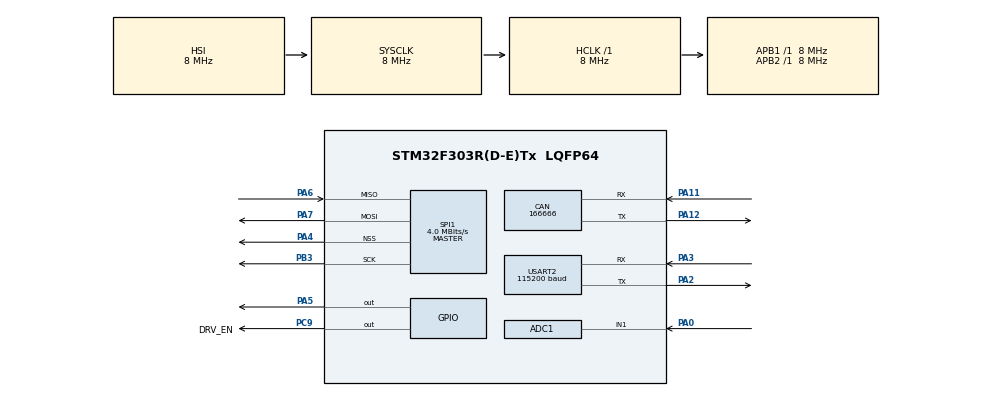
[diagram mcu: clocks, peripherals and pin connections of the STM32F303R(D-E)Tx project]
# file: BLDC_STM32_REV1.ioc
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ADC1.Channel-0\#ChannelRegularConversion=ADC_CHANNEL_1
ADC1.NbrOfConversionFlag=1
ADC1.Offset-0\#ChannelRegularConversion=0
ADC1.OffsetNumber-0\#ChannelRegularConversion=ADC_OFFSET_NONE
ADC1.Rank-0\#ChannelRegularConversion=1
ADC1.SamplingTime-0\#ChannelRegularConversion=ADC_SAMPLETIME_1CYCLE_5
ADC1.SamplingTimeOPAMP-0\#ChannelRegularConversion=ADC_SAMPLETIME_7CYCLES_5
ADC1.master=1
CAN.CalculateBaudRate=166666
CAN.CalculateTimeBit=6000
CAN.CalculateTimeQuantum=2000.0
Mcu.Family=STM32F3
Mcu.Name=STM32F303R(D-E)Tx
Mcu.Package=LQFP64
NVIC.PriorityGroup=NVIC_PRIORITYGROUP_4
PA0.Mode=IN1-Single-Ended
PA0.Signal=ADC1_IN1
PA11.Mode=CAN_Activate
PA11.Signal=CAN_RX
PA12.Mode=CAN_Activate
PA12.Signal=CAN_TX
PA2.Mode=Asynchronous
PA2.Signal=USART2_TX
PA3.Mode=Asynchronous
PA3.Signal=USART2_RX
PA4.Mode=NSS_Signal_Hard_Output
PA4.Signal=SPI1_NSS
PA5.Signal=GPIO_Output
PA6.Mode=Full_Duplex_Master
PA6.Signal=SPI1_MISO
PA7.Mode=Full_Duplex_Master
PA7.Signal=SPI1_MOSI
PB3.Mode=Full_Duplex_Master
PB3.Signal=SPI1_SCK
PC9.GPIO_Label=DRV_EN
PC9.Signal=GPIO_Output
ProjectManager.HeapSize=0x200
ProjectManager.StackSize=0x400
ProjectManager.TargetToolchain=STM32CubeIDE
RCC.AHBFreq_Value=8000000
RCC.APB1Freq_Value=8000000
RCC.APB2Freq_Value=8000000
RCC.CortexFreq_Value=8000000
RCC.HSE_VALUE=8000000
RCC.HSI_VALUE=8000000
RCC.LSE_VALUE=32768
RCC.SYSCLKFreq_VALUE=8000000
RCC.USBFreq_Value=16000000
SPI1.BaudRatePrescaler=SPI_BAUDRATEPRESCALER_2
SPI1.CLKPhase=SPI_PHASE_1EDGE
SPI1.CLKPolarity=SPI_POLARITY_LOW
SPI1.CalculateBaudRate=4.0 MBits/s
SPI1.DataSize=SPI_DATASIZE_8BIT
SPI1.Direction=SPI_DIRECTION_2LINES
SPI1.Mode=SPI_MODE_MASTER
SPI1.VirtualNSS=VM_NSSHARD
SPI1.VirtualType=VM_MASTER
TIM1.Period=499
TIM1.Prescaler=7199
USART2.BaudRate=115200
USART2.VirtualMode-Asynchronous=VM_ASYNC
VP_TIM1_VS_ClockSourceINT.Mode=Internal
board=custom

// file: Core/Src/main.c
/* USER CODE BEGIN Header */
/**
  ******************************************************************************
  * @file           : main.c
  * @brief          : Main program body
  ******************************************************************************
  * @attention
  *
  * Copyright (c) 2025 STMicroelectronics.
  * All rights reserved.
  *
  * This software is licensed under terms that can be found in the LICENSE file
  * in the root directory of this software component.
  * If no LICENSE file comes with this software, it is provided AS-IS.
  *
  ******************************************************************************
  */
/* USER CODE END Header */
#include "main.h"

/* USER CODE BEGIN Includes */
#include "BLDC_SPI.h"
#include "BLDC_Drive.h"

/* USER CODE END Includes */

ADC_HandleTypeDef hadc1;

CAN_HandleTypeDef hcan;

SPI_HandleTypeDef hspi1;

TIM_HandleTypeDef htim1;

UART_HandleTypeDef huart2;

/* USER CODE BEGIN PV */
// Side delay
int16_t counter = 0;
int16_t delay = 10;
int16_t period = 3;

//LED
uint8_t Can_LED = 0;
uint8_t Debug_LED = 0;
uint8_t Error_LED = 0;

int32_t millidegreeTarget = 0;

//Uart variables
char txData[TX_DATA_SIZE];

//drive varaible
int16_t nextPWM = 0;
extern uint8_t invalidate;
uint8_t ignoreLimSw = 0;
uint8_t encoderTimeOut = 0;
uint8_t hallSensorsTimeOut = 0;

// Motor Unit Variables
uint8_t bound_set1;
uint8_t bound_set2;
int32_t enc_lim_1;
int32_t enc_lim_2;

//Status and Data Structs
volatile uint8_t drive = 0;
uint8_t CAN_check_delay = 0;
CANPacket can_recieve;
CANPacket can_send;

uint8_t address = 0;

/* USER CODE END PV */

void SystemClock_Config(void);
static void MX_GPIO_Init(void);
static void MX_TIM1_Init(void);
static void MX_USART2_UART_Init(void);
static void MX_CAN_Init(void);
static void MX_ADC1_Init(void);
static void MX_SPI1_Init(void);

/* USER CODE BEGIN 0 */
//void Initialize(void) {
//    HAL_UART_Transmit(&huart2, (uint8_t*)"Initializing...\r\n", 17, 10);
//    HAL_CAN_Start(&hcan);
//    HAL_TIM_Base_Start_IT(&htim1);
//}
//
//uint16_t ReadCAN(CANPacket *receivedPacket) {
//    CAN_RxHeaderTypeDef rxHeader;
//    uint8_t rxData[8];
//    if (HAL_CAN_GetRxMessage(&hcan, CAN_RX_FIFO0, &rxHeader, rxData) == HAL_OK) {
//        memcpy(receivedPacket->data, rxData, rxHeader.DLC);
//        receivedPacket->dlc = rxHeader.DLC;
//        receivedPacket->id = rxHeader.StdId;
//        Can_LED = 0;
//        return receivedPacket->data[0];
//    }
//    return 0xFF;
//}
//
//
//void PrintCanPacket(CANPacket receivedPacket) {
//    for (int i = 0; i < receivedPacket.dlc; i++) {
//        sprintf(txData, "Byte%d %x   ", i + 1, receivedPacket.data[i]);
//        HAL_UART_Transmit(&huart2, (uint8_t *)txData, strlen(txData), 10);
//    }
//    sprintf(txData, "ID:%x %x %x\r\n", receivedPacket.id >> 10,
//        (receivedPacket.id >> 6) & 0xF, receivedPacket.id & 0x3F);
//    HAL_UART_Transmit(&huart2, (uint8_t *)txData, strlen(txData), 10);
//}

//void select_spi_read (uint8_t reg, uint8_t *Buffer, size_t len)
//  {
//  	reg |= 0x80;
//  	Reg |= 0x40;
//  	HAL_GPIO_WritePin (GPIOA, SPI1_NSS_Pin, GPIO_PIN_RESET);
//  	HAL_SPI_Transmit (&hspi1, &reg, 1, 100);
//  	HAL_SPI_Receive (&hspi1, Buffer, len, 100);
//  	HAL_GPIO_WritePin (GPIOA, SPI1_NSS_Pin, GPIO_PIN_SET);
//  }
//
//void select_spi_write (uint8_t Reg, uint8_t data)
//{
//	  uint8_t writeBuf[2];
//	  writeBuf[0] = Reg|0x80;
//	  writeBuf[1] = data;
//
//	  HAL_GPIO_WritePin(GPIOA, SPI1_NSS_Pin, GPIO_PIN_RESET);
//	  HAL_SPI_Transmit (&hspi1, writeBuf, 2, 100);
//	  HAL_GPIO_WritePin (GPIOA, SPI1_NSS_Pin, GPIO_PIN_SET);
//}

// Function to send and receive SPI data (Blocking)
//uint32_t SPI_ReadRegister(uint8_t register_address) {
//    uint32_t tx_data = (0x80 | (register_address << 1));  // 0x80 for Read command
//    uint32_t rx_data = 0;
//
//    // Transmit and receive the data via SPI
//    HAL_SPI_TransmitReceive(&hspi1, (uint8_t*)&tx_data, (uint8_t*)&rx_data, 4, HAL_MAX_DELAY);
//
//    return rx_data; // Return the 32-bit response
//}
//
//// Function to send a string over UART
//void UART_Printf(const char* str) {
//    HAL_UART_Transmit(&huart2, (uint8_t*)str, strlen(str), HAL_MAX_DELAY);
//}
//
//// Function to read and extract DRV_STATUS data and print via UART
//void Read_DRV_STATUS() {
//    uint32_t drv_status = SPI_ReadRegister(0x04); // Address for DRV_STATUS register is 0x04
//
//    // Extract the individual states from the 32-bit response
//    uint8_t UL = (drv_status >> 0) & 1;
//    uint8_t UH = (drv_status >> 1) & 1;
//    uint8_t VL = (drv_status >> 2) & 1;
//    uint8_t VH = (drv_status >> 3) & 1;
//    uint8_t WL = (drv_status >> 4) & 1;
//    uint8_t WH = (drv_status >> 5) & 1;
//    uint8_t DRV_EN = (drv_status >> 6) & 1;
//
//    // Additional status bits
//    uint8_t OTPW = (drv_status >> 8) & 1;
//    uint8_t OT136 = (drv_status >> 9) & 1;
//    uint8_t OT143 = (drv_status >> 10) & 1;
//    uint8_t OT150 = (drv_status >> 11) & 1;
//    uint8_t VERSION = (drv_status >> 24) & 0xFF;
//
//    // Print the results to UART
//    char uart_buffer[150];
//    snprintf(uart_buffer, sizeof(uart_buffer),
//             "UL: %d, UH: %d, VL: %d, VH: %d, WL: %d, WH: %d, DRV_EN: %d\r\n"
//             "OTPW: %d, OT136°C: %d, OT143°C: %d, OT150°C: %d\r\n"
//             "VERSION: 0x%02X\r\n",
//             UL, UH, VL, VH, WL, WH, DRV_EN, OTPW, OT136, OT143, OT150, VERSION);
//
//    UART_Printf(uart_buffer);
//}
/* USER CODE END 0 */

int main(void)
{

  /* MCU Configuration--------------------------------------------------------*/

  /* Reset of all peripherals, Initializes the Flash interface and the Systick. */
  HAL_Init();

  /* Configure the system clock */
  SystemClock_Config();

  /* Initialize all configured peripherals */
  MX_GPIO_Init();
  MX_TIM1_Init();
  MX_USART2_UART_Init();
  MX_CAN_Init();
  MX_ADC1_Init();
  MX_SPI1_Init();
  /* USER CODE BEGIN 2 */

//  HAL_UART_Transmit(&huart2, (uint8_t *)"Starting\r\n", 10, 10);
  HAL_GPIO_WritePin(GPIOA, GPIO_PIN_4, GPIO_PIN_SET);
  HAL_GPIO_WritePin(DRV_EN_GPIO_Port, DRV_EN_Pin, GPIO_PIN_SET);
//
//  char buffer[32];
//  GPIO_PinState pin_state = HAL_GPIO_ReadPin(DRV_EN_GPIO_Port, DRV_EN_Pin);
//  sprintf(buffer, "Enable: %d\r\n", pin_state);
//  HAL_UART_Transmit(&huart2, (uint8_t *)buffer, sizeof(buffer), 10);
//
//
//  uint8_t data_buffer[8];
#define TEST_BYTE  0xA4
#define TIMEOUT    100
#define IOIN	   0x04

//  uint8_t txData = IOIN; //transmit
//  	  uint8_t rxData = 0x00; //receive
//  	   uint8_t txData[2] = {IOIN, 0x00};
//  	   uint8_t rxData[2] = {0};

  	  // Set CS Low
  	  HAL_GPIO_WritePin(GPIOA, GPIO_PIN_4, GPIO_PIN_RESET);

  //	  HAL_SPI_Transmit(&hspi1, &txData, 1, TIMEOUT);
  //	  char buffer[50];
  //	  snprintf(buffer, sizeof(buffer), "Sent: 0x%02X\r\n", txData);
  //	  HAL_UART_Transmit(&huart2, (uint8_t *)buffer, strlen(buffer), 100);

  //	  HAL_Delay(100);

  //	  HAL_SPI_Receive(&hspi1, &rxData, 1, TIMEOUT);
  //	  char bufferRx[50];
  //	  snprintf(bufferRx, sizeof(bufferRx), "Received: 0x%02X\r\n", rxData);
  //	  HAL_UART_Transmit(&huart2, (uint8_t *)bufferRx, strlen(bufferRx),100);

//  	  if (HAL_SPI_Transmit(&hspi1, &txData, 2, TIMEOUT) == HAL_OK) {
//  		  char buffer[50];
//  		  snprintf(buffer, sizeof(buffer), "Sent: 0x%02X ", txData);
//  		  HAL_UART_Transmit(&huart2, (uint8_t *)buffer, strlen(buffer), 100);
//  	  } else {
//  		  HAL_UART_Transmit(&huart2, (uint8_t *)"SPI communication failed!\r\n", strlen("SPI communication failed!\r\n"),100);
//  	  }

  	  //HAL_Delay(5);

//  	  if (HAL_SPI_Receive(&hspi1, &rxData, 2, TIMEOUT) == HAL_OK) {
//  		  char bufferRx[50];
//  		  snprintf(bufferRx, sizeof(bufferRx), "Received: 0x%02X\r\n", rxData);
//  		  HAL_UART_Transmit(&huart2, (uint8_t *)bufferRx, strlen(bufferRx),100);
//  	  } else {
//  		  HAL_UART_Transmit(&huart2, (uint8_t *)"SPI communication failed!\r\n", strlen("SPI communication failed!\r\n"),100);
//  	  }
  /* USER CODE END 2 */

  /* Infinite loop */
  /* USER CODE BEGIN WHILE */
  while (1)
  {

	  uint8_t txData = IOIN; //transmit
	  uint8_t rxData = 0x00; //receive
	  // uint8_t txData[2] = {IOIN, 0x00};
	  // uint8_t rxData[2] = {0};

	  // Set CS Low
	  HAL_GPIO_WritePin(GPIOA, GPIO_PIN_4, GPIO_PIN_RESET);
//
////	  HAL_SPI_Transmit(&hspi1, &txData, 1, TIMEOUT);
////	  char buffer[50];
////	  snprintf(buffer, sizeof(buffer), "Sent: 0x%02X\r\n", txData);
////	  HAL_UART_Transmit(&huart2, (uint8_t *)buffer, strlen(buffer), 100);
//
////	  HAL_Delay(100);
//
////	  HAL_SPI_Receive(&hspi1, &rxData, 1, TIMEOUT);
////	  char bufferRx[50];
////	  snprintf(bufferRx, sizeof(bufferRx), "Received: 0x%02X\r\n", rxData);
////	  HAL_UART_Transmit(&huart2, (uint8_t *)bufferRx, strlen(bufferRx),100);
//
	  if (HAL_SPI_Transmit(&hspi1, &txData, 2, TIMEOUT) == HAL_OK) {
		  char buffer[50];
		  snprintf(buffer, sizeof(buffer), "Sent: 0x%02X ", txData);
		  HAL_UART_Transmit(&huart2, (uint8_t *)buffer, strlen(buffer), 100);
	  } else {
		  HAL_UART_Transmit(&huart2, (uint8_t *)"SPI communication failed!\r\n", strlen("SPI communication failed!\r\n"),100);
	  }
//
//	  //HAL_Delay(5);
//
	  if (HAL_SPI_Receive(&hspi1, &rxData, 2, TIMEOUT) == HAL_OK) {
		  char bufferRx[50];
		  snprintf(bufferRx, sizeof(bufferRx), "Received: 0x%02X\r\n", rxData);
		  HAL_UART_Transmit(&huart2, (uint8_t *)bufferRx, strlen(bufferRx),100);
	  } else {
		  HAL_UART_Transmit(&huart2, (uint8_t *)"SPI communication failed!\r\n", strlen("SPI communication failed!\r\n"),100);
	  }

	  // Send and receive data
//	  if (HAL_SPI_TransmitReceive(&hspi1, &txData, &rxData, 1, TIMEOUT) == HAL_OK) {
//		  char buffer[50];
//		  snprintf(buffer, sizeof(buffer), "Sent: 0x%02X, Received: 0x%02X\r\n", txData, rxData);
//		  HAL_UART_Transmit(&huart2, (uint8_t *)buffer, strlen(buffer), 100);
//		  rxData = 0x00;
//	  } else {
//		  HAL_UART_Transmit(&huart2, (uint8_t *)"SPI communication failed!\r\n", strlen("SPI communication failed!\r\n"), 100);
//	  }

	  // Set CS High
	  HAL_GPIO_WritePin(GPIOA, GPIO_PIN_4, GPIO_PIN_SET);
//	  uint8_t spi_rx_buffer[6];
//
//	  HAL_GPIO_WritePin(GPIOA, GPIO_PIN_4, GPIO_PIN_RESET); //CS LOW
//	  HAL_SPI_Recieve(&hspi1, spi_rx_buffer, sizeof(spi_rx_buffer));
//	  HAL_GPIO_WritePin(GPIOA, GPIO_PIN_4, GPIO_PIN_SET); //CS HIGH
//
//	  HAL_Delay(1000000);

//	  HAL_GPIO_WritePin(GPIOA, GPIO_PIN_5, GPIO_PIN_SET);  // Turn ON LED (D13)
//	  HAL_Delay(1000); // 1-second delay
//	  HAL_GPIO_WritePin(GPIOA, GPIO_PIN_5, GPIO_PIN_RESET); // Turn OFF LED
//	  HAL_Delay(1000);

//	#define TEST_BYTE  0xA5
//	#define TIMEOUT    100
//	  uint8_t txData = TEST_BYTE;
//	  uint8_t rxData = 0x00;
//
//	  // Ensure CS is low before sending data (if manually controlled)
//	  HAL_GPIO_WritePin(GPIOA, GPIO_PIN_4, GPIO_PIN_RESET);  // CS Low (adjust pin as needed)
//
//	  // Transmit & receive data
//	  if (HAL_SPI_TransmitReceive(&hspi1, &txData, &rxData, 1, TIMEOUT) == HAL_OK) {
//		  if (rxData == TEST_BYTE) {
//			  HAL_GPIO_TogglePin(GPIOC, GPIO_PIN_13);  // Toggle LED on success
//		  }
//	  }
//
//	  // Set CS high again
//	  HAL_GPIO_WritePin(GPIOA, GPIO_PIN_4, GPIO_PIN_SET);  // CS High

//	  Read_DRV_STATUS();
//	  HAL_Delay(1000);
//	  uint8_t spi_rx_buffer[8];
//	  uint8_t spi_tx_buffer[1] = {0x04, 0x0};
//
//	  HAL_GPIO_WritePin(GPIOA, GPIO_PIN_4, GPIO_PIN_RESET);
//	  HAL_Delay(1);
//	  HAL_SPI_TransmitReceive(&hspi1, spi_tx_buffer, spi_rx_buffer, sizeof(spi_rx_buffer), HAL_MAX_DELAY);
//	  HAL_Delay(1);
//	  HAL_GPIO_WritePin(GPIOA, GPIO_PIN_4, GPIO_PIN_SET);

//	  uint8_t UL = spi_rx_buffer[0];
//	  uint8_t UH = spi_rx_buffer[1];
//	  uint8_t VL = spi_rx_buffer[2];
//	  uint8_t VH = spi_rx_buffer[3];
//	  uint8_t WL = spi_rx_buffer[4];
//	  uint8_t WH = spi_rx_buffer[5];
//	  uint8_t DRV_EN = spi_rx_buffer[6];
//
//	  sprintf(txData, "UL:%d UH:%d VL:%d VH:%d WL:%d WH:%d DRV_EN: %d\r\n", UL, UH, VL, VH, WL, WH, DRV_EN);
//
//	  HAL_UART_Transmit(&huart2, (uint8_t*)txData, strlen(txData), HAL_MAX_DELAY);

//	  for (int i = 0; i < 8; i++) {
//	      char debugMsg[50];
//	      sprintf(debugMsg, "spi_rx_buffer[%d]: %d\r\n", i, spi_rx_buffer[i]);
//	      HAL_UART_Transmit(&huart2, (uint8_t*)debugMsg, strlen(debugMsg), HAL_MAX_DELAY);
//	  }
//
//	  HAL_Delay(1000);

//	  select_spi_read(0x04 , data_buffer, sizeof(data_buffer));
//	  HAL_UART_Transmit(&huart2, (uint8_t *)data_buffer, sizeof(data_buffer), 10);

//	  uint32_t gstat = read_spi(0x01, 0x00000000);
//	  sprintf(txData, "GSTAT: %08lX\r\n", gstat);
//	  HAL_UART_Transmit(&huart2, (uint8_t *)txData, strlen(txData), 10);

	  //write_spi(0x00, 0x40);
//	  uint8_t TX_Buffer [5] = {0};
//	  HAL_SPI_Transmit(&hspi1, TX_Buffer, 1, 1000); //Sending in Blocking mode
//	  HAL_Delay(100);

	  //set_speed(500, 1);
	  //HAL_Delay(100);

	  //uint32_t ioin = read_spi(0x04, 0x00000000);
//	  uint8_t RX_Buffer [12];
//	  uint8_t ioin = HAL_SPI_Receive(&hspi1, RX_Buffer, 12, 1000); //Receiving in Blocking mode
//	  HAL_Delay(100);

//	  uint32_t UL = (ioin >> 0) & 1;
//	  uint32_t UH = (ioin >> 1) & 1;
//	  uint32_t VL = (ioin >> 2) & 1;
//	  uint32_t VH = (ioin >> 3) & 1;
//	  uint32_t WL = (ioin >> 4) & 1;
//	  uint32_t WH = (ioin >> 5) & 1;
//	  uint32_t DRV_EN = (ioin >> 6) & 1;
//
//	  sprintf(txData, "UL:%d UH:%d VL:%d VH:%d WL:%d WH:%d DRV_EN: %d\r\n", UL, UH, VL, VH, WL, WH, DRV_EN);
//
//	  HAL_UART_Transmit(&huart2, (uint32_t *)txData, strlen(txData), 10);

	  //HAL_Delay(5000);
    /* USER CODE END WHILE */

  }
}

void SystemClock_Config(void)
{
  RCC_OscInitTypeDef RCC_OscInitStruct = {0};
  RCC_ClkInitTypeDef RCC_ClkInitStruct = {0};
  RCC_PeriphCLKInitTypeDef PeriphClkInit = {0};

  /** Initializes the RCC Oscillators according to the specified parameters
  * in the RCC_OscInitTypeDef structure.
  */
  RCC_OscInitStruct.OscillatorType = RCC_OSCILLATORTYPE_HSI;
  RCC_OscInitStruct.HSIState = RCC_HSI_ON;
  RCC_OscInitStruct.HSICalibrationValue = RCC_HSICALIBRATION_DEFAULT;
  RCC_OscInitStruct.PLL.PLLState = RCC_PLL_ON;
  RCC_OscInitStruct.PLL.PLLSource = RCC_PLLSOURCE_HSI;
  RCC_OscInitStruct.PLL.PLLMUL = RCC_PLL_MUL2;
  RCC_OscInitStruct.PLL.PREDIV = RCC_PREDIV_DIV1;
  if (HAL_RCC_OscConfig(&RCC_OscInitStruct) != HAL_OK)
  {
    Error_Handler();
  }

  /** Initializes the CPU, AHB and APB buses clocks
  */
  RCC_ClkInitStruct.ClockType = RCC_CLOCKTYPE_HCLK|RCC_CLOCKTYPE_SYSCLK
                              |RCC_CLOCKTYPE_PCLK1|RCC_CLOCKTYPE_PCLK2;
  RCC_ClkInitStruct.SYSCLKSource = RCC_SYSCLKSOURCE_HSI;
  RCC_ClkInitStruct.AHBCLKDivider = RCC_SYSCLK_DIV1;
  RCC_ClkInitStruct.APB1CLKDivider = RCC_HCLK_DIV1;
  RCC_ClkInitStruct.APB2CLKDivider = RCC_HCLK_DIV1;

  if (HAL_RCC_ClockConfig(&RCC_ClkInitStruct, FLASH_LATENCY_0) != HAL_OK)
  {
    Error_Handler();
  }
  PeriphClkInit.PeriphClockSelection = RCC_PERIPHCLK_USART2|RCC_PERIPHCLK_TIM1
                              |RCC_PERIPHCLK_ADC12;
  PeriphClkInit.Usart2ClockSelection = RCC_USART2CLKSOURCE_PCLK1;
  PeriphClkInit.Adc12ClockSelection = RCC_ADC12PLLCLK_DIV1;
  PeriphClkInit.Tim1ClockSelection = RCC_TIM1CLK_HCLK;
  if (HAL_RCCEx_PeriphCLKConfig(&PeriphClkInit) != HAL_OK)
  {
    Error_Handler();
  }
}

static void MX_ADC1_Init(void)
{

  ADC_MultiModeTypeDef multimode = {0};
  ADC_ChannelConfTypeDef sConfig = {0};

  /** Common config
  */
  hadc1.Instance = ADC1;
  hadc1.Init.ClockPrescaler = ADC_CLOCK_ASYNC_DIV1;
  hadc1.Init.Resolution = ADC_RESOLUTION_12B;
  hadc1.Init.ScanConvMode = ADC_SCAN_DISABLE;
  hadc1.Init.ContinuousConvMode = DISABLE;
  hadc1.Init.DiscontinuousConvMode = DISABLE;
  hadc1.Init.ExternalTrigConvEdge = ADC_EXTERNALTRIGCONVEDGE_NONE;
  hadc1.Init.ExternalTrigConv = ADC_SOFTWARE_START;
  hadc1.Init.DataAlign = ADC_DATAALIGN_RIGHT;
  hadc1.Init.NbrOfConversion = 1;
  hadc1.Init.DMAContinuousRequests = DISABLE;
  hadc1.Init.EOCSelection = ADC_EOC_SINGLE_CONV;
  hadc1.Init.LowPowerAutoWait = DISABLE;
  hadc1.Init.Overrun = ADC_OVR_DATA_OVERWRITTEN;
  if (HAL_ADC_Init(&hadc1) != HAL_OK)
  {
    Error_Handler();
  }

  /** Configure the ADC multi-mode
  */
  multimode.Mode = ADC_MODE_INDEPENDENT;
  if (HAL_ADCEx_MultiModeConfigChannel(&hadc1, &multimode) != HAL_OK)
  {
    Error_Handler();
  }

  /** Configure Regular Channel
  */
  sConfig.Channel = ADC_CHANNEL_1;
  sConfig.Rank = ADC_REGULAR_RANK_1;
  sConfig.SingleDiff = ADC_SINGLE_ENDED;
  sConfig.SamplingTime = ADC_SAMPLETIME_1CYCLE_5;
  sConfig.OffsetNumber = ADC_OFFSET_NONE;
  sConfig.Offset = 0;
  if (HAL_ADC_ConfigChannel(&hadc1, &sConfig) != HAL_OK)
  {
    Error_Handler();
  }

}

static void MX_CAN_Init(void)
{

  hcan.Instance = CAN;
  hcan.Init.Prescaler = 16;
  hcan.Init.Mode = CAN_MODE_NORMAL;
  hcan.Init.SyncJumpWidth = CAN_SJW_1TQ;
  hcan.Init.TimeSeg1 = CAN_BS1_1TQ;
  hcan.Init.TimeSeg2 = CAN_BS2_1TQ;
  hcan.Init.TimeTriggeredMode = DISABLE;
  hcan.Init.AutoBusOff = DISABLE;
  hcan.Init.AutoWakeUp = DISABLE;
  hcan.Init.AutoRetransmission = DISABLE;
  hcan.Init.ReceiveFifoLocked = DISABLE;
  hcan.Init.TransmitFifoPriority = DISABLE;
  if (HAL_CAN_Init(&hcan) != HAL_OK)
  {
    Error_Handler();
  }

}

static void MX_SPI1_Init(void)
{

  /* SPI1 parameter configuration*/
  hspi1.Instance = SPI1;
  hspi1.Init.Mode = SPI_MODE_MASTER;
  hspi1.Init.Direction = SPI_DIRECTION_2LINES;
  hspi1.Init.DataSize = SPI_DATASIZE_8BIT;
  hspi1.Init.CLKPolarity = SPI_POLARITY_LOW;
  hspi1.Init.CLKPhase = SPI_PHASE_1EDGE;
  hspi1.Init.NSS = SPI_NSS_HARD_OUTPUT;
  hspi1.Init.BaudRatePrescaler = SPI_BAUDRATEPRESCALER_2;
  hspi1.Init.FirstBit = SPI_FIRSTBIT_MSB;
  hspi1.Init.TIMode = SPI_TIMODE_DISABLE;
  hspi1.Init.CRCCalculation = SPI_CRCCALCULATION_DISABLE;
  hspi1.Init.CRCPolynomial = 7;
  hspi1.Init.CRCLength = SPI_CRC_LENGTH_DATASIZE;
  hspi1.Init.NSSPMode = SPI_NSS_PULSE_ENABLE;
  if (HAL_SPI_Init(&hspi1) != HAL_OK)
  {
    Error_Handler();
  }

}

static void MX_TIM1_Init(void)
{

  TIM_ClockConfigTypeDef sClockSourceConfig = {0};
  TIM_MasterConfigTypeDef sMasterConfig = {0};

  htim1.Instance = TIM1;
  htim1.Init.Prescaler = 7199;
  htim1.Init.CounterMode = TIM_COUNTERMODE_UP;
  htim1.Init.Period = 499;
  htim1.Init.ClockDivision = TIM_CLOCKDIVISION_DIV1;
  htim1.Init.RepetitionCounter = 0;
  htim1.Init.AutoReloadPreload = TIM_AUTORELOAD_PRELOAD_DISABLE;
  if (HAL_TIM_Base_Init(&htim1) != HAL_OK)
  {
    Error_Handler();
  }
  sClockSourceConfig.ClockSource = TIM_CLOCKSOURCE_INTERNAL;
  if (HAL_TIM_ConfigClockSource(&htim1, &sClockSourceConfig) != HAL_OK)
  {
    Error_Handler();
  }
  sMasterConfig.MasterOutputTrigger = TIM_TRGO_RESET;
  sMasterConfig.MasterOutputTrigger2 = TIM_TRGO2_RESET;
  sMasterConfig.MasterSlaveMode = TIM_MASTERSLAVEMODE_DISABLE;
  if (HAL_TIMEx_MasterConfigSynchronization(&htim1, &sMasterConfig) != HAL_OK)
  {
    Error_Handler();
  }

}

static void MX_USART2_UART_Init(void)
{

  huart2.Instance = USART2;
  huart2.Init.BaudRate = 115200;
  huart2.Init.WordLength = UART_WORDLENGTH_8B;
  huart2.Init.StopBits = UART_STOPBITS_1;
  huart2.Init.Parity = UART_PARITY_NONE;
  huart2.Init.Mode = UART_MODE_TX_RX;
  huart2.Init.HwFlowCtl = UART_HWCONTROL_NONE;
  huart2.Init.OverSampling = UART_OVERSAMPLING_16;
  huart2.Init.OneBitSampling = UART_ONE_BIT_SAMPLE_DISABLE;
  huart2.AdvancedInit.AdvFeatureInit = UART_ADVFEATURE_NO_INIT;
  if (HAL_UART_Init(&huart2) != HAL_OK)
  {
    Error_Handler();
  }

}

static void MX_GPIO_Init(void)
{
  GPIO_InitTypeDef GPIO_InitStruct = {0};

  /* GPIO Ports Clock Enable */
  __HAL_RCC_GPIOA_CLK_ENABLE();
  __HAL_RCC_GPIOC_CLK_ENABLE();
  __HAL_RCC_GPIOB_CLK_ENABLE();

  /*Configure GPIO pin Output Level */
  HAL_GPIO_WritePin(GPIOA, GPIO_PIN_5, GPIO_PIN_RESET);

  /*Configure GPIO pin Output Level */
  HAL_GPIO_WritePin(DRV_EN_GPIO_Port, DRV_EN_Pin, GPIO_PIN_RESET);

  /*Configure GPIO pin : PA5 */
  GPIO_InitStruct.Pin = GPIO_PIN_5;
  GPIO_InitStruct.Mode = GPIO_MODE_OUTPUT_PP;
  GPIO_InitStruct.Pull = GPIO_NOPULL;
  GPIO_InitStruct.Speed = GPIO_SPEED_FREQ_LOW;
  HAL_GPIO_Init(GPIOA, &GPIO_InitStruct);

  /*Configure GPIO pin : DRV_EN_Pin */
  GPIO_InitStruct.Pin = DRV_EN_Pin;
  GPIO_InitStruct.Mode = GPIO_MODE_OUTPUT_PP;
  GPIO_InitStruct.Pull = GPIO_NOPULL;
  GPIO_InitStruct.Speed = GPIO_SPEED_FREQ_LOW;
  HAL_GPIO_Init(DRV_EN_GPIO_Port, &GPIO_InitStruct);

}

void Error_Handler(void)
{
  __disable_irq();
  while (1)
  {
  }
}
